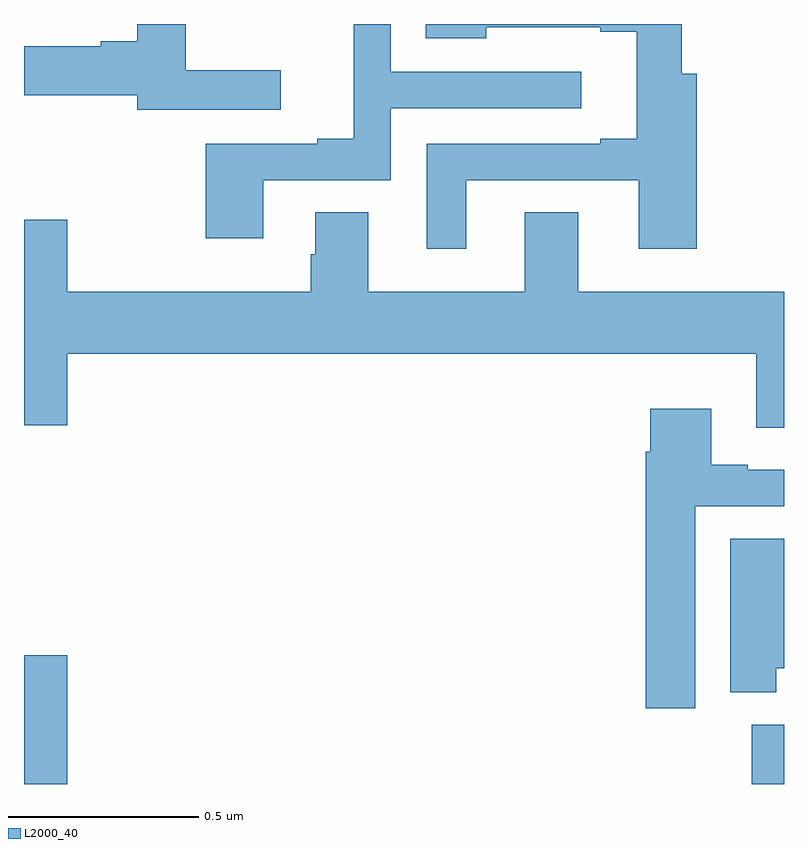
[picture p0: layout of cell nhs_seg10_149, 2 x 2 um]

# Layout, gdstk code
import gdstk
lib = gdstk.Library(unit=1e-6, precision=1e-09)
def R(c, l, rs):  # rectangles x0, y0, x1, y1
    for r in rs: c.add(gdstk.rectangle(r[:2], r[2:], *l))
def P(c, l, *ps):  # polygons
    for p in ps: c.add(gdstk.Polygon(p, *l))
L2000_40 = (2000, 40)

nhs_seg10_149 = lib.new_cell('nhs_seg10_149')
R(nhs_seg10_149, L2000_40, [(112,1316.5,112.114,1316.839), (113.915,1316.5,114,1316.656)])
P(nhs_seg10_149, L2000_40, [(112.63,1318.089),(112.965,1318.089),(112.965,1318.278),(113.467,1318.278),(113.467,1318.374),(112.965,1318.374),(112.965,1318.5),(112.868,1318.5),(112.868,1318.198),(112.772,1318.198),(112.772,1318.185),(112.478,1318.185),(112.478,1317.936),(112.63,1317.936)],
  [(112.675,1318.378),(112.426,1318.378),(112.426,1318.5),(112.298,1318.5),(112.298,1318.454),(112.202,1318.454),(112.202,1318.441),(112,1318.441),(112,1318.312),(112.298,1318.312),(112.298,1318.274),(112.675,1318.274)],
  [(113.164,1318.089),(113.618,1318.089),(113.618,1317.909),(113.771,1317.909),(113.771,1318.369),(113.731,1318.369),(113.731,1318.5),(113.057,1318.5),(113.057,1318.463),(113.217,1318.463),(113.217,1318.491),(113.516,1318.491),(113.516,1318.479),(113.612,1318.479),(113.612,1318.198),(113.516,1318.198),(113.516,1318.185),(113.06,1318.185),(113.06,1317.909),(113.164,1317.909)],
  [(114,1317.796),(113.458,1317.796),(113.458,1318.004),(113.318,1318.004),(113.318,1317.796),(112.906,1317.796),(112.906,1318.004),(112.766,1318.004),(112.766,1317.894),(112.754,1317.894),(112.754,1317.796),(112.114,1317.796),(112.114,1317.985),(112,1317.985),(112,1317.444),(112.114,1317.444),(112.114,1317.632),(113.927,1317.632),(113.927,1317.438),(114,1317.438)],
  [(113.767,1317.231),(114,1317.231),(114,1317.327),(113.905,1317.327),(113.905,1317.34),(113.809,1317.34),(113.809,1317.487),(113.648,1317.487),(113.648,1317.374),(113.636,1317.374),(113.636,1316.7),(113.767,1316.7)],
  [(113.98,1316.805),(114,1316.805),(114,1317.146),(113.858,1317.146),(113.858,1316.741),(113.98,1316.741)])

lib.write_gds('nhs_seg10_149.gds')
